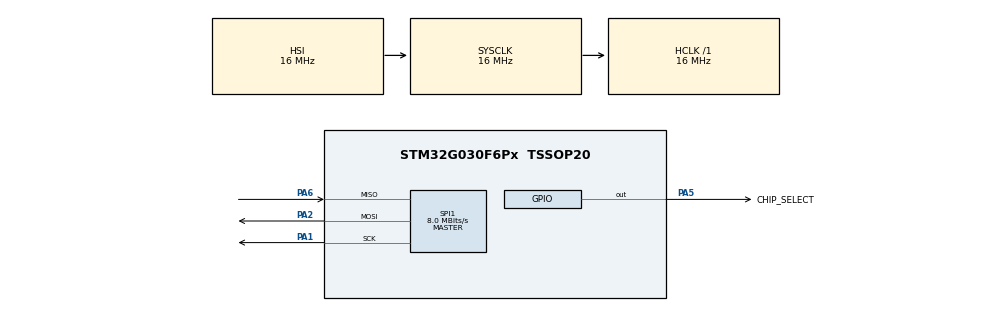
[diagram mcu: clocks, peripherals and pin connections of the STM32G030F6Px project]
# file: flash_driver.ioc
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Mcu.Family=STM32G0
Mcu.Name=STM32G030F6Px
Mcu.Package=TSSOP20
PA1.Mode=Full_Duplex_Master
PA1.Signal=SPI1_SCK
PA14-BOOT0__PA15.StandardMode=true
PA2.Mode=Full_Duplex_Master
PA2.Signal=SPI1_MOSI
PA5.GPIO_Label=CHIP_SELECT
PA5.Signal=GPIO_Output
PA6.Mode=Full_Duplex_Master
PA6.Signal=SPI1_MISO
PB0__PB1__PB2__PA8.StandardMode=true
PB3__PB4__PB5__PB6.StandardMode=true
PB7__PB8.StandardMode=true
PC14-OSC32_IN\ (PC14)__PB9.StandardMode=true
ProjectManager.HeapSize=0x200
ProjectManager.StackSize=0x400
ProjectManager.TargetToolchain=STM32CubeIDE
RCC.AHBFreq_Value=16000000
RCC.CortexFreq_Value=16000000
RCC.EXTERNAL_CLOCK_VALUE=12288000
RCC.HCLKFreq_Value=16000000
RCC.HSE_VALUE=8000000
RCC.HSI_VALUE=16000000
RCC.LSE_VALUE=32768
RCC.SYSCLKFreq_VALUE=16000000
RCC.VCOOutputFreq_Value=128000000
SPI1.CalculateBaudRate=8.0 MBits/s
SPI1.Direction=SPI_DIRECTION_2LINES
SPI1.Mode=SPI_MODE_MASTER
SPI1.VirtualType=VM_MASTER
board=custom

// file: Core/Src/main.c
/* USER CODE BEGIN Header */
/**
  ******************************************************************************
  * @file           : main.c
  * @brief          : Main program body
  ******************************************************************************
  * @attention
  *
  * Copyright (c) 2026 STMicroelectronics.
  * All rights reserved.
  *
  * This software is licensed under terms that can be found in the LICENSE file
  * in the root directory of this software component.
  * If no LICENSE file comes with this software, it is provided AS-IS.
  *
  ******************************************************************************
  */
/* USER CODE END Header */
#include "main.h"

/* USER CODE BEGIN Includes */
#include "flash_high_api.h"
#include "lfs.h"
#include "lfs_port.h"
/* USER CODE END Includes */

SPI_HandleTypeDef hspi1;

void SystemClock_Config(void);
static void MX_GPIO_Init(void);
static void MX_SPI1_Init(void);

/* USER CODE BEGIN 0 */
lfs_t lfs;
lfs_file_t file;
flash_handle* my_flash = NULL;
/* USER CODE END 0 */

int main(void)
{

  /* MCU Configuration--------------------------------------------------------*/

  /* Reset of all peripherals, Initializes the Flash interface and the Systick. */
  HAL_Init();

  /* Configure the system clock */
  SystemClock_Config();

  /* Initialize all configured peripherals */
  MX_GPIO_Init();
  MX_SPI1_Init();
  /* USER CODE BEGIN 2 */
  my_flash = createEntity(&hspi1, CHIP_SELECT_Pin, CHIP_SELECT_GPIO_Port);
  if (flash_init(my_flash) == FLASH_OK)
  {
	  lfs_port_init(my_flash);
      int err = lfs_mount(&lfs, &lfs_cfg);
      if (err != 0)
      {
         lfs_format(&lfs, &lfs_cfg);
         lfs_mount(&lfs, &lfs_cfg);
      }

//      lfs_file_open(&lfs, &file, "boot_count.txt", LFS_O_RDWR | LFS_O_CREAT);
//      char msg[] = "System booted!";
//      lfs_file_write(&lfs, &file, msg, sizeof(msg));
//      lfs_file_close(&lfs, &file);

      char read_buffer[32] = {0};
      lfs_file_open(&lfs, &file, "boot_count.txt", LFS_O_RDONLY);
      lfs_file_read(&lfs, &file, read_buffer, sizeof(read_buffer));
      lfs_file_close(&lfs, &file);
  }
  /* USER CODE END 2 */

  /* Infinite loop */
  while (1)
  {

  }
}

void SystemClock_Config(void)
{
  RCC_OscInitTypeDef RCC_OscInitStruct = {0};
  RCC_ClkInitTypeDef RCC_ClkInitStruct = {0};

  /** Configure the main internal regulator output voltage
  */
  HAL_PWREx_ControlVoltageScaling(PWR_REGULATOR_VOLTAGE_SCALE1);

  /** Initializes the RCC Oscillators according to the specified parameters
  * in the RCC_OscInitTypeDef structure.
  */
  RCC_OscInitStruct.OscillatorType = RCC_OSCILLATORTYPE_HSI;
  RCC_OscInitStruct.HSIState = RCC_HSI_ON;
  RCC_OscInitStruct.HSIDiv = RCC_HSI_DIV1;
  RCC_OscInitStruct.HSICalibrationValue = RCC_HSICALIBRATION_DEFAULT;
  RCC_OscInitStruct.PLL.PLLState = RCC_PLL_NONE;
  if (HAL_RCC_OscConfig(&RCC_OscInitStruct) != HAL_OK)
  {
    Error_Handler();
  }

  /** Initializes the CPU, AHB and APB buses clocks
  */
  RCC_ClkInitStruct.ClockType = RCC_CLOCKTYPE_HCLK|RCC_CLOCKTYPE_SYSCLK
                              |RCC_CLOCKTYPE_PCLK1;
  RCC_ClkInitStruct.SYSCLKSource = RCC_SYSCLKSOURCE_HSI;
  RCC_ClkInitStruct.AHBCLKDivider = RCC_SYSCLK_DIV1;
  RCC_ClkInitStruct.APB1CLKDivider = RCC_HCLK_DIV1;

  if (HAL_RCC_ClockConfig(&RCC_ClkInitStruct, FLASH_LATENCY_0) != HAL_OK)
  {
    Error_Handler();
  }
}

static void MX_SPI1_Init(void)
{

  /* SPI1 parameter configuration*/
  hspi1.Instance = SPI1;
  hspi1.Init.Mode = SPI_MODE_MASTER;
  hspi1.Init.Direction = SPI_DIRECTION_2LINES;
  hspi1.Init.DataSize = SPI_DATASIZE_8BIT;
  hspi1.Init.CLKPolarity = SPI_POLARITY_LOW;
  hspi1.Init.CLKPhase = SPI_PHASE_1EDGE;
  hspi1.Init.NSS = SPI_NSS_SOFT;
  hspi1.Init.BaudRatePrescaler = SPI_BAUDRATEPRESCALER_2;
  hspi1.Init.FirstBit = SPI_FIRSTBIT_MSB;
  hspi1.Init.TIMode = SPI_TIMODE_DISABLE;
  hspi1.Init.CRCCalculation = SPI_CRCCALCULATION_DISABLE;
  hspi1.Init.CRCPolynomial = 7;
  hspi1.Init.CRCLength = SPI_CRC_LENGTH_DATASIZE;
  hspi1.Init.NSSPMode = SPI_NSS_PULSE_ENABLE;
  if (HAL_SPI_Init(&hspi1) != HAL_OK)
  {
    Error_Handler();
  }

}

static void MX_GPIO_Init(void)
{
  GPIO_InitTypeDef GPIO_InitStruct = {0};

  /* GPIO Ports Clock Enable */
  __HAL_RCC_GPIOA_CLK_ENABLE();

  /*Configure GPIO pin Output Level */
  HAL_GPIO_WritePin(CHIP_SELECT_GPIO_Port, CHIP_SELECT_Pin, GPIO_PIN_RESET);

  /*Configure GPIO pin : CHIP_SELECT_Pin */
  GPIO_InitStruct.Pin = CHIP_SELECT_Pin;
  GPIO_InitStruct.Mode = GPIO_MODE_OUTPUT_PP;
  GPIO_InitStruct.Pull = GPIO_NOPULL;
  GPIO_InitStruct.Speed = GPIO_SPEED_FREQ_LOW;
  HAL_GPIO_Init(CHIP_SELECT_GPIO_Port, &GPIO_InitStruct);

}

void Error_Handler(void)
{
  __disable_irq();
  while (1)
  {
  }
}
